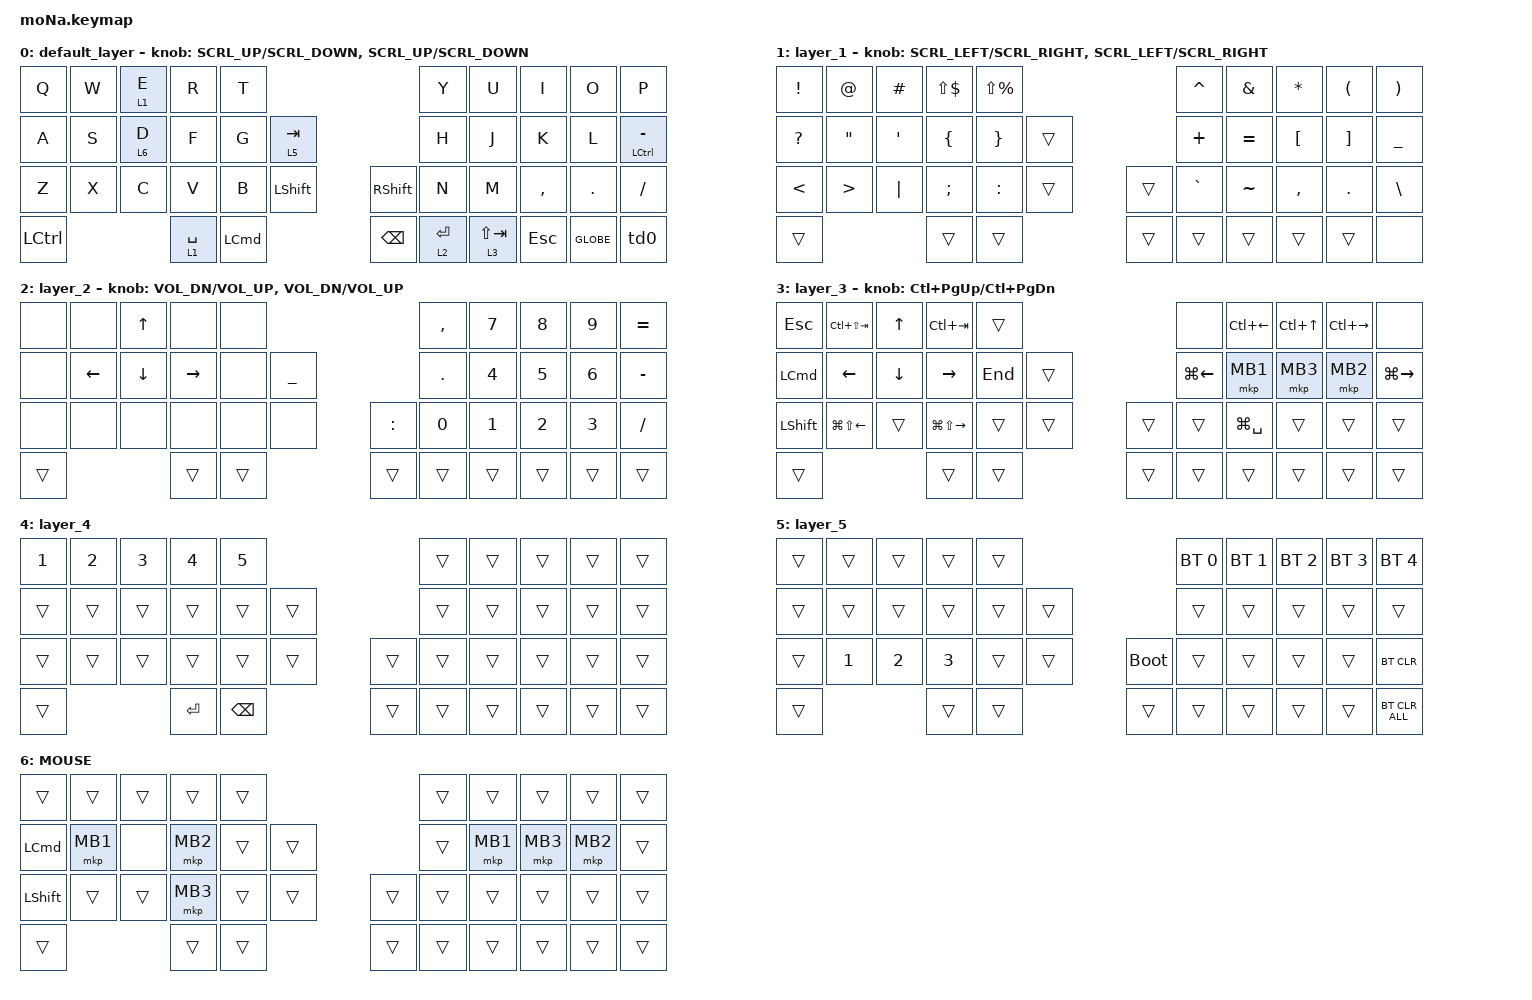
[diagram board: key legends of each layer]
#include <behaviors/rgbled_widget.dtsi>  // led制御
#include <behaviors.dtsi>
#include <dt-bindings/zmk/bt.h>
#include <dt-bindings/zmk/keys.h>
#include <dt-bindings/zmk/pointing.h>
#include <input/processors.dtsi>
#include <dt-bindings/zmk/input_transform.h>

#define ZMK_POINTING_DEFAULT_SCRL_VAL 100   //スクロール量
#define MOUSE 6

&mt {
    flavor = "balanced";
    quick-tap-ms = <0>;
};

/ {
    //コンボ設定

    combos {
        compatible = "zmk,combos";

        tab {
            bindings = <&kp TAB>;   //押したとき実行されるコマンド
            key-positions = <11 12>;    //押すキーの位置
        };

        shift_tab {
            bindings = <&kp LS(TAB)>;
            key-positions = <12 13>;
        };

        lang2 {
            bindings = <&kp LANG1>;
            key-positions = <7 8>;
        };

        lang1 {
            bindings = <&kp LANG2>;
            key-positions = <6 7>;
        };

        ctrlsemicolon {
            bindings = <&kp LC(SEMICOLON)>;
            key-positions = <33 20>;
        };
    };

    //マクロ(既存のキーの組み合わせ)

    macros {
        to_layer_0: to_layer_0 {
            compatible = "zmk,behavior-macro-one-param";
            #binding-cells = <1>;
            bindings = <&to 0 &macro_param_1to1 &kp MACRO_PLACEHOLDER>;
            label = "TO_LAYER_0";
        };
    };

    //新たな動作を定義する

    behaviors {
        lt_to_layer_0: lt_to_layer_0 {
            compatible = "zmk,behavior-hold-tap";
            label = "LAYER_TAP_TO_0";
            bindings = <&mo>, <&to_layer_0>;

            #binding-cells = <2>;
            tapping-term-ms = <200>;
        };

        mouse_scroll: mouse_wheel_scrl {
            compatible = "zmk,behavior-sensor-rotate-var";
            #sensor-binding-cells = <2>;
            bindings = <&msc>, <&msc>;

            // 追加: スクロールのタップ時間を設定 (20ms)

            tap-ms = <20>;
        };

        td0: td0 {
            compatible = "zmk,behavior-tap-dance";
            label = "TD0";
            #binding-cells = <0>;
            bindings = <&kp LEFT_ALT>, <&tog 4>, <&tog 0>;
        };
    };

    //キーマップ設定

    keymap {
        compatible = "zmk,keymap";

        default_layer {
            bindings = <
&kp Q      &kp W  &lt 1 E  &kp R  &kp T                                             &kp Y        &kp U          &kp I       &kp O       &kp P
&kp A      &kp S  &lt 6 D  &kp F  &kp G        &lt 5 TAB                            &kp H        &kp J          &kp K       &kp L       &mt LEFT_CONTROL MINUS
&kp Z      &kp X  &kp C    &kp V  &kp B        &kp LEFT_SHIFT      &kp RIGHT_SHIFT  &kp N        &kp M          &kp COMMA   &kp PERIOD  &kp SLASH
&kp LCTRL                         &lt 1 SPACE  &kp LEFT_COMMAND    &kp BACKSPACE    &lt 2 ENTER  &lt 3 LS(TAB)  &kp ESCAPE  &kp GLOBE   &td0
            >;

            sensor-bindings =
                <&mouse_scroll SCRL_UP SCRL_DOWN>,
                <&mouse_scroll SCRL_UP SCRL_DOWN>;
        };

        layer_1 {
            bindings = <
&kp EXCLAMATION  &kp AT_SIGN        &kp HASH  &kp LS(DOLLAR)  &kp LS(PERCENT)                    &kp CARET  &kp AMPERSAND  &kp ASTERISK      &kp LEFT_PARENTHESIS  &kp RIGHT_PARENTHESIS
&kp QUESTION     &kp DOUBLE_QUOTES  &kp SQT   &kp LEFT_BRACE  &kp RIGHT_BRACE  &trans            &kp PLUS   &kp EQUAL      &kp LEFT_BRACKET  &kp RIGHT_BRACKET     &kp UNDERSCORE
&kp LESS_THAN    &kp GREATER_THAN   &kp PIPE  &kp SEMICOLON   &kp COLON        &trans    &trans  &kp GRAVE  &kp TILDE      &kp COMMA         &kp PERIOD            &kp BACKSLASH
&trans                                                        &trans           &trans    &trans  &trans     &trans         &trans            &trans                &none
            >;

            sensor-bindings =
                <&mouse_scroll SCRL_LEFT SCRL_RIGHT>,
                <&mouse_scroll SCRL_LEFT SCRL_RIGHT>;
        };

        layer_2 {
            bindings = <
&none   &none           &kp UP_ARROW  &none      &none                                &kp COMMA  &kp NUMBER_7  &kp NUMBER_8  &kp N9        &kp EQUAL
&none   &kp LEFT_ARROW  &kp DOWN      &kp RIGHT  &none   &kp UNDERSCORE               &kp DOT    &kp NUMBER_4  &kp N5        &kp NUMBER_6  &kp MINUS
&none   &none           &none         &none      &none   &none             &kp COLON  &kp N0     &kp NUMBER_1  &kp NUMBER_2  &kp NUMBER_3  &kp SLASH
&trans                                           &trans  &trans            &trans     &trans     &trans        &trans        &trans        &trans
            >;

            sensor-bindings =
                <&inc_dec_kp C_VOL_DN C_VOL_UP>,
                <&inc_dec_kp C_VOL_DN C_VOL_UP>;
        };

        layer_3 {
            bindings = <
&kp ESCAPE        &kp LC(LS(TAB))         &kp UP_ARROW    &kp LC(TAB)              &trans                     &none         &kp LC(LEFT)   &kp LC(UP_ARROW)  &kp LC(RIGHT)  &none
&kp LEFT_COMMAND  &kp LEFT_ARROW          &kp DOWN_ARROW  &kp RIGHT_ARROW          &kp END  &trans            &kp LG(LEFT)  &mkp MB1       &mkp MB3          &mkp MB2       &kp LG(RIGHT)
&kp LEFT_SHIFT    &kp LG(LS(LEFT_ARROW))  &trans          &kp LG(LS(RIGHT_ARROW))  &trans   &trans    &trans  &trans        &kp LG(SPACE)  &trans            &trans         &trans
&trans                                                                             &trans   &trans    &trans  &trans        &trans         &trans            &trans         &trans
            >;

            sensor-bindings = <&inc_dec_kp LC(PAGE_UP) LC(PAGE_DOWN)>;
        };

        layer_4 {
            bindings = <
&kp NUMBER_1  &kp NUMBER_2  &kp NUMBER_3  &kp NUMBER_4  &kp NUMBER_5                           &trans  &trans  &trans  &trans  &trans
&trans        &trans        &trans        &trans        &trans        &trans                   &trans  &trans  &trans  &trans  &trans
&trans        &trans        &trans        &trans        &trans        &trans           &trans  &trans  &trans  &trans  &trans  &trans
&trans                                                  &kp RETURN    &kp BACKSPACE    &trans  &trans  &trans  &trans  &trans  &trans
            >;
        };

        layer_5 {
            bindings = <
&trans  &trans        &trans        &trans        &trans                         &bt BT_SEL 0  &bt BT_SEL 1  &bt BT_SEL 2  &bt BT_SEL 3  &bt BT_SEL 4
&trans  &trans        &trans        &trans        &trans  &trans                 &trans        &trans        &trans        &trans        &trans
&trans  &kp NUMBER_1  &kp NUMBER_2  &kp NUMBER_3  &trans  &trans    &bootloader  &trans        &trans        &trans        &trans        &bt BT_CLR
&trans                                            &trans  &trans    &trans       &trans        &trans        &trans        &trans        &bt BT_CLR_ALL
            >;
        };

        MOUSE {
            bindings = <
&trans            &trans    &trans  &trans    &trans                    &trans  &trans    &trans    &trans    &trans
&kp LEFT_COMMAND  &mkp MB1  &none   &mkp MB2  &trans  &trans            &trans  &mkp MB1  &mkp MB3  &mkp MB2  &trans
&kp LEFT_SHIFT    &trans    &trans  &mkp MB3  &trans  &trans    &trans  &trans  &trans    &trans    &trans    &trans
&trans                                        &trans  &trans    &trans  &trans  &trans    &trans    &trans    &trans
            >;
        };
    };
};
